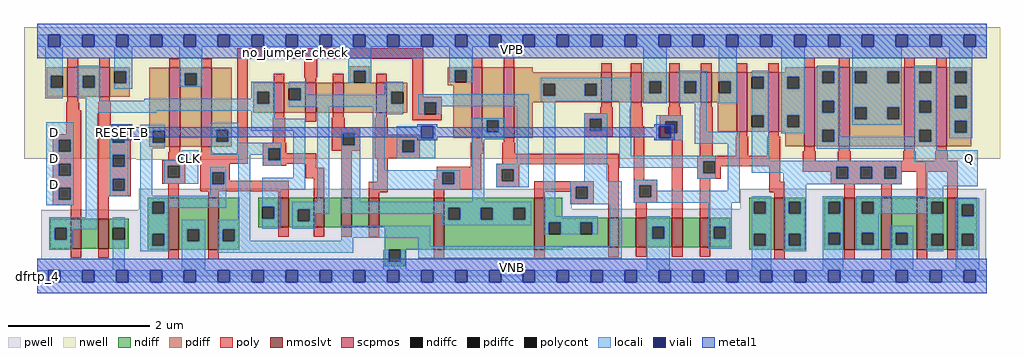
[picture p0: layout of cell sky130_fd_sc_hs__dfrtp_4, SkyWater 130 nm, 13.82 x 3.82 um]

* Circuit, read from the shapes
.subckt sky130_fd_sc_hs__dfrtp_4 CLK D RESET_B VGND VNB VPB VPWR Q
XM1 n1 D n2 VNB sky130_fd_pr__nfet_01v8_lvt w=0.42 l=0.15
XM2 VGND RESET_B n1 VNB sky130_fd_pr__nfet_01v8_lvt w=0.42 l=0.15
XM3 VGND CLK n3 VNB sky130_fd_pr__nfet_01v8_lvt w=0.74 l=0.15
XM4 n4 n3 VGND VNB sky130_fd_pr__nfet_01v8_lvt w=0.74 l=0.15
XM5 n5 n3 n2 VNB sky130_fd_pr__nfet_01v8_lvt w=0.42 l=0.15
XM6 n6 n4 n5 VNB sky130_fd_pr__nfet_01v8_lvt w=0.42 l=0.15
XM7 n7 n8 n6 VNB sky130_fd_pr__nfet_01v8_lvt w=0.42 l=0.15
XM8 VGND RESET_B n7 VNB sky130_fd_pr__nfet_01v8_lvt w=0.42 l=0.15
XM9 n8 n5 VGND VNB sky130_fd_pr__nfet_01v8_lvt w=0.74 l=0.15
XM10 n9 n4 n8 VNB sky130_fd_pr__nfet_01v8_lvt w=0.74 l=0.15
XM11 n10 n3 n9 VNB sky130_fd_pr__nfet_01v8_lvt w=0.42 l=0.15
XM12 VGND n11 n10 VNB sky130_fd_pr__nfet_01v8_lvt w=0.42 l=0.15
XM13 n12 RESET_B VGND VNB sky130_fd_pr__nfet_01v8_lvt w=0.42 l=0.15
XM14 n11 n9 n12 VNB sky130_fd_pr__nfet_01v8_lvt w=0.42 l=0.15
XM15 n13 n9 VGND VNB sky130_fd_pr__nfet_01v8_lvt w=0.74 l=0.15
XM16 Q n13 VGND VNB sky130_fd_pr__nfet_01v8_lvt w=0.74 l=0.15 m=4
XM17 n2 D VPWR VPB sky130_fd_pr__pfet_01v8 w=0.42 l=0.15
XM18 VPWR RESET_B n2 VPB sky130_fd_pr__pfet_01v8 w=0.42 l=0.15
XM19 VPWR CLK n3 VPB sky130_fd_pr__pfet_01v8 w=1.12 l=0.15
XM20 n4 n3 VPWR VPB sky130_fd_pr__pfet_01v8 w=1.12 l=0.15
XM21 n5 n4 n2 VPB sky130_fd_pr__pfet_01v8 w=0.42 l=0.15
XM22 n14 n3 n5 VPB sky130_fd_pr__pfet_01v8 w=0.42 l=0.15
XM23 VPWR n8 n14 VPB sky130_fd_pr__pfet_01v8 w=0.42 l=0.15
XM24 n5 RESET_B VPWR VPB sky130_fd_pr__pfet_01v8 w=0.42 l=0.15
XM25 n8 n5 VPWR VPB sky130_fd_pr__pfet_01v8 w=1 l=0.15
XM26 n9 n3 n8 VPB sky130_fd_pr__pfet_01v8 w=1 l=0.15
XM27 n15 n4 n9 VPB sky130_fd_pr__pfet_01v8 w=0.42 l=0.15
XM28 VPWR n11 n15 VPB sky130_fd_pr__pfet_01v8 w=0.42 l=0.15
XM29 n11 RESET_B VPWR VPB sky130_fd_pr__pfet_01v8 w=0.42 l=0.15
XM30 VPWR n9 n11 VPB sky130_fd_pr__pfet_01v8 w=0.42 l=0.15
XM31 n13 n9 VPWR VPB sky130_fd_pr__pfet_01v8 w=0.84 l=0.15 m=2
XM32 Q n13 VPWR VPB sky130_fd_pr__pfet_01v8 w=1.12 l=0.15 m=4
.ends

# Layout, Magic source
magic
tech sky130A
magscale 1 2
<< nwell >>
rect -38 332 2726 704
rect 280 330 587 332
<< pwell >>
rect 287 191 1513 248
rect 1990 191 2687 248
rect 287 188 2687 191
rect 11 49 2687 188
rect 0 0 2688 49
<< scpmos >>
rect 85 508 115 592
rect 175 508 205 592
rect 374 366 404 590
rect 464 366 494 590
rect 669 463 699 547
rect 759 463 789 547
rect 837 463 867 547
rect 959 463 989 547
rect 1230 392 1260 592
rect 1320 392 1350 592
rect 1597 493 1627 577
rect 1681 493 1711 577
rect 1789 493 1819 577
rect 1879 493 1909 577
rect 1980 409 2010 577
rect 2070 409 2100 577
rect 2171 368 2201 592
rect 2270 368 2300 592
rect 2455 368 2485 592
rect 2545 368 2575 592
<< nmoslvt >>
rect 94 78 124 162
rect 172 78 202 162
rect 370 74 400 222
rect 484 74 514 222
rect 682 138 712 222
rect 782 138 812 222
rect 860 138 890 222
rect 938 138 968 222
rect 1122 74 1152 222
rect 1407 74 1437 222
rect 1617 81 1647 165
rect 1695 81 1725 165
rect 1797 81 1827 165
rect 1875 81 1905 165
rect 2087 74 2117 222
rect 2285 74 2315 222
rect 2390 74 2420 222
rect 2490 74 2520 222
rect 2576 74 2606 222
<< ndiff >>
rect 313 210 370 222
rect 313 176 325 210
rect 359 176 370 210
rect 37 137 94 162
rect 37 103 49 137
rect 83 103 94 137
rect 37 78 94 103
rect 124 78 172 162
rect 202 137 259 162
rect 202 103 213 137
rect 247 103 259 137
rect 202 78 259 103
rect 313 120 370 176
rect 313 86 325 120
rect 359 86 370 120
rect 313 74 370 86
rect 400 132 484 222
rect 400 98 425 132
rect 459 98 484 132
rect 400 74 484 98
rect 514 132 571 222
rect 625 197 682 222
rect 625 163 637 197
rect 671 163 682 197
rect 625 138 682 163
rect 712 189 782 222
rect 712 155 737 189
rect 771 155 782 189
rect 712 138 782 155
rect 812 138 860 222
rect 890 138 938 222
rect 968 138 1122 222
rect 514 98 525 132
rect 559 98 571 132
rect 514 74 571 98
rect 983 74 1122 138
rect 1152 194 1407 222
rect 1152 160 1163 194
rect 1197 160 1255 194
rect 1289 160 1348 194
rect 1382 160 1407 194
rect 1152 74 1407 160
rect 1437 165 1487 222
rect 2016 210 2087 222
rect 2016 176 2028 210
rect 2062 176 2087 210
rect 1437 153 1617 165
rect 1437 119 1448 153
rect 1482 119 1537 153
rect 1571 119 1617 153
rect 1437 81 1617 119
rect 1647 81 1695 165
rect 1725 140 1797 165
rect 1725 106 1741 140
rect 1775 106 1797 140
rect 1725 81 1797 106
rect 1827 81 1875 165
rect 1905 140 1962 165
rect 1905 106 1916 140
rect 1950 106 1962 140
rect 1905 81 1962 106
rect 2016 120 2087 176
rect 2016 86 2028 120
rect 2062 86 2087 120
rect 1437 74 1487 81
rect 983 40 995 74
rect 1029 40 1041 74
rect 2016 74 2087 86
rect 2117 210 2174 222
rect 2117 176 2128 210
rect 2162 176 2174 210
rect 2117 120 2174 176
rect 2117 86 2128 120
rect 2162 86 2174 120
rect 2117 74 2174 86
rect 2228 210 2285 222
rect 2228 176 2240 210
rect 2274 176 2285 210
rect 2228 123 2285 176
rect 2228 89 2240 123
rect 2274 89 2285 123
rect 2228 74 2285 89
rect 2315 210 2390 222
rect 2315 176 2335 210
rect 2369 176 2390 210
rect 2315 123 2390 176
rect 2315 89 2335 123
rect 2369 89 2390 123
rect 2315 74 2390 89
rect 2420 123 2490 222
rect 2420 89 2431 123
rect 2465 89 2490 123
rect 2420 74 2490 89
rect 2520 210 2576 222
rect 2520 176 2531 210
rect 2565 176 2576 210
rect 2520 120 2576 176
rect 2520 86 2531 120
rect 2565 86 2576 120
rect 2520 74 2576 86
rect 2606 204 2661 222
rect 2606 170 2617 204
rect 2651 170 2661 204
rect 2606 120 2661 170
rect 2606 86 2617 120
rect 2651 86 2661 120
rect 2606 74 2661 86
rect 983 28 1041 40
<< pdiff >>
rect 27 567 85 592
rect 27 533 38 567
rect 72 533 85 567
rect 27 508 85 533
rect 115 567 175 592
rect 115 533 128 567
rect 162 533 175 567
rect 115 508 175 533
rect 205 580 262 592
rect 205 546 218 580
rect 252 546 262 580
rect 205 508 262 546
rect 316 412 374 590
rect 316 378 327 412
rect 361 378 374 412
rect 316 366 374 378
rect 404 574 464 590
rect 404 540 417 574
rect 451 540 464 574
rect 404 366 464 540
rect 494 415 551 590
rect 494 381 507 415
rect 541 381 551 415
rect 494 366 551 381
rect 885 582 941 594
rect 885 548 896 582
rect 930 548 941 582
rect 885 547 941 548
rect 611 522 669 547
rect 611 488 622 522
rect 656 488 669 522
rect 611 463 669 488
rect 699 532 759 547
rect 699 498 712 532
rect 746 498 759 532
rect 699 463 759 498
rect 789 463 837 547
rect 867 463 959 547
rect 989 522 1047 547
rect 989 488 1002 522
rect 1036 488 1047 522
rect 989 463 1047 488
rect 1162 583 1230 592
rect 1162 549 1182 583
rect 1216 549 1230 583
rect 1162 540 1230 549
rect 1177 392 1230 540
rect 1260 442 1320 592
rect 1260 408 1273 442
rect 1307 408 1320 442
rect 1260 392 1320 408
rect 1350 577 1403 592
rect 2118 577 2171 592
rect 1350 545 1597 577
rect 1350 511 1432 545
rect 1466 511 1550 545
rect 1584 511 1597 545
rect 1350 493 1597 511
rect 1627 493 1681 577
rect 1711 552 1789 577
rect 1711 518 1732 552
rect 1766 518 1789 552
rect 1711 493 1789 518
rect 1819 552 1879 577
rect 1819 518 1832 552
rect 1866 518 1879 552
rect 1819 493 1879 518
rect 1909 552 1980 577
rect 1909 518 1930 552
rect 1964 518 1980 552
rect 1909 493 1980 518
rect 1350 392 1403 493
rect 1927 409 1980 493
rect 2010 565 2070 577
rect 2010 531 2023 565
rect 2057 531 2070 565
rect 2010 455 2070 531
rect 2010 421 2023 455
rect 2057 421 2070 455
rect 2010 409 2070 421
rect 2100 565 2171 577
rect 2100 531 2123 565
rect 2157 531 2171 565
rect 2100 455 2171 531
rect 2100 421 2123 455
rect 2157 421 2171 455
rect 2100 409 2171 421
rect 2118 368 2171 409
rect 2201 580 2270 592
rect 2201 546 2223 580
rect 2257 546 2270 580
rect 2201 497 2270 546
rect 2201 463 2223 497
rect 2257 463 2270 497
rect 2201 414 2270 463
rect 2201 380 2223 414
rect 2257 380 2270 414
rect 2201 368 2270 380
rect 2300 580 2455 592
rect 2300 546 2314 580
rect 2348 546 2407 580
rect 2441 546 2455 580
rect 2300 478 2455 546
rect 2300 444 2314 478
rect 2348 444 2407 478
rect 2441 444 2455 478
rect 2300 368 2455 444
rect 2485 580 2545 592
rect 2485 546 2498 580
rect 2532 546 2545 580
rect 2485 497 2545 546
rect 2485 463 2498 497
rect 2532 463 2545 497
rect 2485 414 2545 463
rect 2485 380 2498 414
rect 2532 380 2545 414
rect 2485 368 2545 380
rect 2575 580 2644 592
rect 2575 546 2598 580
rect 2632 546 2644 580
rect 2575 510 2644 546
rect 2575 476 2598 510
rect 2632 476 2644 510
rect 2575 440 2644 476
rect 2575 406 2598 440
rect 2632 406 2644 440
rect 2575 368 2644 406
<< ndiffc >>
rect 325 176 359 210
rect 49 103 83 137
rect 213 103 247 137
rect 325 86 359 120
rect 425 98 459 132
rect 637 163 671 197
rect 737 155 771 189
rect 525 98 559 132
rect 1163 160 1197 194
rect 1255 160 1289 194
rect 1348 160 1382 194
rect 2028 176 2062 210
rect 1448 119 1482 153
rect 1537 119 1571 153
rect 1741 106 1775 140
rect 1916 106 1950 140
rect 2028 86 2062 120
rect 995 40 1029 74
rect 2128 176 2162 210
rect 2128 86 2162 120
rect 2240 176 2274 210
rect 2240 89 2274 123
rect 2335 176 2369 210
rect 2335 89 2369 123
rect 2431 89 2465 123
rect 2531 176 2565 210
rect 2531 86 2565 120
rect 2617 170 2651 204
rect 2617 86 2651 120
<< pdiffc >>
rect 38 533 72 567
rect 128 533 162 567
rect 218 546 252 580
rect 327 378 361 412
rect 417 540 451 574
rect 507 381 541 415
rect 896 548 930 582
rect 622 488 656 522
rect 712 498 746 532
rect 1002 488 1036 522
rect 1182 549 1216 583
rect 1273 408 1307 442
rect 1432 511 1466 545
rect 1550 511 1584 545
rect 1732 518 1766 552
rect 1832 518 1866 552
rect 1930 518 1964 552
rect 2023 531 2057 565
rect 2023 421 2057 455
rect 2123 531 2157 565
rect 2123 421 2157 455
rect 2223 546 2257 580
rect 2223 463 2257 497
rect 2223 380 2257 414
rect 2314 546 2348 580
rect 2407 546 2441 580
rect 2314 444 2348 478
rect 2407 444 2441 478
rect 2498 546 2532 580
rect 2498 463 2532 497
rect 2498 380 2532 414
rect 2598 546 2632 580
rect 2598 476 2632 510
rect 2598 406 2632 440
<< poly >>
rect 85 592 115 618
rect 175 592 205 618
rect 374 590 404 616
rect 464 590 494 616
rect 566 615 1092 645
rect 85 493 115 508
rect 175 493 205 508
rect 82 470 118 493
rect 82 402 124 470
rect 44 386 124 402
rect 44 352 60 386
rect 94 352 124 386
rect 44 318 124 352
rect 44 284 60 318
rect 94 284 124 318
rect 44 250 124 284
rect 44 216 60 250
rect 94 216 124 250
rect 44 200 124 216
rect 94 162 124 200
rect 172 428 208 493
rect 172 412 264 428
rect 172 378 214 412
rect 248 378 264 412
rect 172 344 264 378
rect 374 351 404 366
rect 464 351 494 366
rect 172 310 214 344
rect 248 310 264 344
rect 371 328 407 351
rect 461 348 497 351
rect 566 348 596 615
rect 669 547 699 573
rect 756 562 792 615
rect 759 547 789 562
rect 837 547 867 573
rect 959 547 989 573
rect 1062 508 1092 615
rect 1230 592 1260 618
rect 1320 592 1350 618
rect 1062 492 1145 508
rect 669 448 699 463
rect 666 378 702 448
rect 759 437 789 463
rect 837 448 867 463
rect 959 448 989 463
rect 1062 458 1095 492
rect 1129 458 1145 492
rect 834 421 870 448
rect 834 405 914 421
rect 172 276 264 310
rect 172 242 214 276
rect 248 242 264 276
rect 353 312 419 328
rect 353 278 369 312
rect 403 278 419 312
rect 353 262 419 278
rect 461 318 596 348
rect 638 362 704 378
rect 638 328 654 362
rect 688 348 704 362
rect 834 371 864 405
rect 898 371 914 405
rect 834 355 914 371
rect 956 400 992 448
rect 1062 442 1145 458
rect 956 384 1083 400
rect 1597 577 1627 603
rect 1681 577 1711 603
rect 1789 577 1819 603
rect 1879 577 1909 603
rect 1980 577 2010 603
rect 2070 577 2100 603
rect 2171 592 2201 618
rect 2270 592 2300 618
rect 2455 592 2485 618
rect 2545 592 2575 618
rect 1597 478 1627 493
rect 1681 478 1711 493
rect 1789 478 1819 493
rect 1879 478 1909 493
rect 1594 461 1630 478
rect 1548 445 1630 461
rect 1548 411 1564 445
rect 1598 411 1630 445
rect 1548 395 1630 411
rect 1678 425 1714 478
rect 1786 455 1822 478
rect 1762 439 1828 455
rect 1678 395 1719 425
rect 688 328 790 348
rect 638 318 790 328
rect 461 294 545 318
rect 638 312 704 318
rect 172 226 264 242
rect 172 162 202 226
rect 370 222 400 262
rect 461 260 495 294
rect 529 270 545 294
rect 760 307 790 318
rect 760 277 812 307
rect 529 260 712 270
rect 461 240 712 260
rect 484 222 514 240
rect 682 222 712 240
rect 782 222 812 277
rect 860 222 890 355
rect 956 350 1033 384
rect 1067 350 1083 384
rect 1230 377 1260 392
rect 1320 377 1350 392
rect 956 334 1083 350
rect 1227 346 1263 377
rect 1317 347 1353 377
rect 962 267 992 334
rect 1227 310 1257 346
rect 1317 318 1647 347
rect 1131 294 1257 310
rect 1131 274 1147 294
rect 938 237 992 267
rect 1122 260 1147 274
rect 1181 260 1257 294
rect 1122 244 1257 260
rect 1299 317 1647 318
rect 1299 302 1365 317
rect 1299 268 1315 302
rect 1349 268 1365 302
rect 1299 252 1365 268
rect 1407 253 1575 269
rect 938 222 968 237
rect 1122 222 1152 244
rect 1407 239 1525 253
rect 1407 222 1437 239
rect 94 52 124 78
rect 172 52 202 78
rect 682 112 712 138
rect 782 112 812 138
rect 860 112 890 138
rect 938 112 968 138
rect 1509 219 1525 239
rect 1559 219 1575 253
rect 1509 203 1575 219
rect 1617 165 1647 317
rect 1689 273 1719 395
rect 1762 405 1778 439
rect 1812 405 1828 439
rect 1762 389 1828 405
rect 1689 257 1755 273
rect 1689 223 1705 257
rect 1739 223 1755 257
rect 1689 207 1755 223
rect 1695 165 1725 207
rect 1797 165 1827 389
rect 1876 341 1912 478
rect 1980 394 2010 409
rect 2070 394 2100 409
rect 1977 341 2013 394
rect 2067 341 2103 394
rect 2171 353 2201 368
rect 2270 353 2300 368
rect 2455 353 2485 368
rect 2545 353 2575 368
rect 1869 325 2103 341
rect 1869 291 1885 325
rect 1919 311 2103 325
rect 1919 291 1935 311
rect 1869 275 1935 291
rect 1875 165 1905 275
rect 2073 267 2103 311
rect 2168 326 2204 353
rect 2267 326 2303 353
rect 2452 326 2488 353
rect 2542 326 2578 353
rect 2168 310 2606 326
rect 2168 296 2262 310
rect 2246 276 2262 296
rect 2296 276 2330 310
rect 2364 276 2398 310
rect 2432 296 2606 310
rect 2432 276 2448 296
rect 2073 237 2117 267
rect 2246 260 2448 276
rect 2087 222 2117 237
rect 2285 222 2315 260
rect 2390 222 2420 260
rect 2490 222 2520 296
rect 2576 222 2606 296
rect 370 48 400 74
rect 484 48 514 74
rect 1122 48 1152 74
rect 1407 48 1437 74
rect 1617 55 1647 81
rect 1695 55 1725 81
rect 1797 55 1827 81
rect 1875 55 1905 81
rect 2087 48 2117 74
rect 2285 48 2315 74
rect 2390 48 2420 74
rect 2490 48 2520 74
rect 2576 48 2606 74
<< polycont >>
rect 60 352 94 386
rect 60 284 94 318
rect 60 216 94 250
rect 214 378 248 412
rect 214 310 248 344
rect 1095 458 1129 492
rect 214 242 248 276
rect 369 278 403 312
rect 654 328 688 362
rect 864 371 898 405
rect 1564 411 1598 445
rect 495 260 529 294
rect 1033 350 1067 384
rect 1147 260 1181 294
rect 1315 268 1349 302
rect 1525 219 1559 253
rect 1778 405 1812 439
rect 1705 223 1739 257
rect 1885 291 1919 325
rect 2262 276 2296 310
rect 2330 276 2364 310
rect 2398 276 2432 310
<< locali >>
rect 0 649 31 683
rect 65 649 127 683
rect 161 649 223 683
rect 257 649 319 683
rect 353 649 415 683
rect 449 649 511 683
rect 545 649 607 683
rect 641 649 703 683
rect 737 649 799 683
rect 833 649 895 683
rect 929 649 991 683
rect 1025 649 1087 683
rect 1121 649 1183 683
rect 1217 649 1279 683
rect 1313 649 1375 683
rect 1409 649 1471 683
rect 1505 649 1567 683
rect 1601 649 1663 683
rect 1697 649 1759 683
rect 1793 649 1855 683
rect 1889 649 1951 683
rect 1985 649 2047 683
rect 2081 649 2143 683
rect 2177 649 2239 683
rect 2273 649 2335 683
rect 2369 649 2431 683
rect 2465 649 2527 683
rect 2561 649 2623 683
rect 2657 649 2688 683
rect 22 567 72 649
rect 22 533 38 567
rect 22 504 72 533
rect 112 567 178 596
rect 112 533 128 567
rect 162 533 178 567
rect 112 504 178 533
rect 218 580 268 649
rect 252 546 268 580
rect 218 530 268 546
rect 401 574 467 649
rect 401 540 417 574
rect 451 540 467 574
rect 880 582 946 649
rect 401 536 467 540
rect 137 496 178 504
rect 606 522 672 551
rect 606 502 622 522
rect 302 496 622 502
rect 137 488 622 496
rect 656 488 672 522
rect 137 468 672 488
rect 712 532 762 551
rect 880 548 896 582
rect 930 548 946 582
rect 1166 583 1233 649
rect 746 514 762 532
rect 983 522 1036 551
rect 1166 549 1182 583
rect 1216 549 1233 583
rect 983 514 1002 522
rect 746 498 1002 514
rect 712 488 1002 498
rect 1425 545 1682 561
rect 712 480 1036 488
rect 137 462 336 468
rect 25 386 103 436
rect 25 352 60 386
rect 94 352 103 386
rect 25 318 103 352
rect 25 284 60 318
rect 94 284 103 318
rect 25 250 103 284
rect 25 216 60 250
rect 94 216 103 250
rect 25 200 103 216
rect 137 166 171 462
rect 606 446 672 468
rect 205 424 257 428
rect 205 412 223 424
rect 205 378 214 412
rect 248 378 257 390
rect 205 344 257 378
rect 205 310 214 344
rect 248 310 257 344
rect 205 276 257 310
rect 205 242 214 276
rect 248 242 257 276
rect 205 226 257 242
rect 291 412 361 428
rect 291 378 327 412
rect 291 362 361 378
rect 491 415 569 434
rect 491 381 507 415
rect 541 381 569 415
rect 606 412 759 446
rect 491 378 569 381
rect 491 362 691 378
rect 291 228 325 362
rect 409 328 455 356
rect 491 344 654 362
rect 359 312 455 328
rect 359 278 369 312
rect 403 278 455 312
rect 359 262 455 278
rect 489 294 535 310
rect 489 260 495 294
rect 529 260 535 294
rect 489 228 535 260
rect 291 210 535 228
rect 291 176 325 210
rect 359 194 535 210
rect 359 176 375 194
rect 33 137 171 166
rect 33 103 49 137
rect 83 132 171 137
rect 213 137 247 166
rect 83 103 99 132
rect 33 74 99 103
rect 213 17 247 103
rect 291 120 375 176
rect 569 160 603 344
rect 638 328 654 344
rect 688 328 691 362
rect 638 312 691 328
rect 725 278 759 412
rect 291 86 325 120
rect 359 86 375 120
rect 291 70 375 86
rect 409 132 475 160
rect 409 98 425 132
rect 459 98 475 132
rect 409 17 475 98
rect 509 132 603 160
rect 637 244 759 278
rect 637 197 687 244
rect 793 210 827 480
rect 949 459 1036 480
rect 1079 492 1391 515
rect 1425 511 1432 545
rect 1466 511 1550 545
rect 1584 511 1682 545
rect 1425 495 1682 511
rect 671 163 687 197
rect 637 134 687 163
rect 721 189 827 210
rect 721 155 737 189
rect 771 176 827 189
rect 861 405 914 421
rect 861 371 864 405
rect 898 371 914 405
rect 861 210 914 371
rect 949 300 983 459
rect 1079 458 1095 492
rect 1129 481 1391 492
rect 1129 458 1145 481
rect 1231 442 1323 447
rect 1017 390 1087 424
rect 1121 390 1127 424
rect 1017 384 1127 390
rect 1017 350 1033 384
rect 1067 350 1127 384
rect 1017 334 1127 350
rect 1231 408 1273 442
rect 1307 408 1323 442
rect 1231 388 1323 408
rect 949 294 1197 300
rect 949 260 1147 294
rect 1181 260 1197 294
rect 949 244 1197 260
rect 1231 210 1265 388
rect 1357 318 1391 481
rect 1299 302 1391 318
rect 1299 268 1315 302
rect 1349 268 1391 302
rect 1299 252 1391 268
rect 861 194 1398 210
rect 861 176 1163 194
rect 771 155 787 176
rect 721 134 787 155
rect 1147 160 1163 176
rect 1197 160 1255 194
rect 1289 160 1348 194
rect 1382 160 1398 194
rect 1147 144 1398 160
rect 1432 169 1466 495
rect 1548 445 1614 461
rect 1548 411 1564 445
rect 1598 411 1614 445
rect 1548 269 1614 411
rect 1648 341 1682 495
rect 1716 552 1782 649
rect 1716 518 1732 552
rect 1766 518 1782 552
rect 1716 489 1782 518
rect 1816 552 1896 581
rect 1816 518 1832 552
rect 1866 518 1896 552
rect 1816 489 1896 518
rect 1930 552 1980 649
rect 1964 518 1980 552
rect 1930 489 1980 518
rect 2023 565 2073 581
rect 2057 531 2073 565
rect 1753 439 1828 455
rect 1753 424 1778 439
rect 1753 390 1759 424
rect 1812 405 1828 439
rect 1793 390 1828 405
rect 1753 384 1828 390
rect 1862 409 1896 489
rect 2023 455 2073 531
rect 2057 421 2073 455
rect 1862 375 1989 409
rect 1648 325 1921 341
rect 1648 307 1885 325
rect 1869 291 1885 307
rect 1919 291 1921 325
rect 1869 275 1921 291
rect 1509 253 1655 269
rect 1509 219 1525 253
rect 1559 219 1655 253
rect 1509 203 1655 219
rect 1689 257 1755 273
rect 1689 223 1705 257
rect 1739 241 1755 257
rect 1955 241 1989 375
rect 2023 326 2073 421
rect 2107 565 2173 649
rect 2107 531 2123 565
rect 2157 531 2173 565
rect 2107 455 2173 531
rect 2107 421 2123 455
rect 2157 421 2173 455
rect 2107 405 2173 421
rect 2207 580 2273 596
rect 2207 546 2223 580
rect 2257 546 2273 580
rect 2207 497 2273 546
rect 2207 463 2223 497
rect 2257 463 2273 497
rect 2207 414 2273 463
rect 2307 580 2448 649
rect 2307 546 2314 580
rect 2348 546 2407 580
rect 2441 546 2448 580
rect 2307 478 2448 546
rect 2307 444 2314 478
rect 2348 444 2407 478
rect 2441 444 2448 478
rect 2307 428 2448 444
rect 2482 580 2548 596
rect 2482 546 2498 580
rect 2532 546 2548 580
rect 2482 497 2548 546
rect 2482 463 2498 497
rect 2532 463 2548 497
rect 2207 380 2223 414
rect 2257 394 2273 414
rect 2482 414 2548 463
rect 2482 394 2498 414
rect 2257 380 2498 394
rect 2532 380 2548 414
rect 2582 580 2648 649
rect 2582 546 2598 580
rect 2632 546 2648 580
rect 2582 510 2648 546
rect 2582 476 2598 510
rect 2632 476 2648 510
rect 2582 440 2648 476
rect 2582 406 2598 440
rect 2632 406 2648 440
rect 2582 390 2648 406
rect 2207 360 2548 380
rect 2482 356 2548 360
rect 2023 310 2448 326
rect 2482 322 2663 356
rect 2023 292 2262 310
rect 1739 223 1989 241
rect 2112 276 2262 292
rect 2296 276 2330 310
rect 2364 276 2398 310
rect 2432 276 2448 310
rect 2112 260 2448 276
rect 1689 207 1989 223
rect 2023 210 2078 226
rect 1432 153 1587 169
rect 509 98 525 132
rect 559 100 603 132
rect 861 108 1113 142
rect 1432 119 1448 153
rect 1482 119 1537 153
rect 1571 119 1587 153
rect 861 100 895 108
rect 559 98 895 100
rect 509 66 895 98
rect 1079 85 1113 108
rect 1621 85 1655 203
rect 979 40 995 74
rect 1029 40 1045 74
rect 1079 51 1655 85
rect 1725 140 1791 169
rect 1725 106 1741 140
rect 1775 106 1791 140
rect 979 17 1045 40
rect 1725 17 1791 106
rect 1900 140 1966 207
rect 1900 106 1916 140
rect 1950 106 1966 140
rect 1900 77 1966 106
rect 2023 176 2028 210
rect 2062 176 2078 210
rect 2023 120 2078 176
rect 2023 86 2028 120
rect 2062 86 2078 120
rect 2023 17 2078 86
rect 2112 210 2178 260
rect 2515 254 2663 322
rect 2515 226 2565 254
rect 2112 176 2128 210
rect 2162 176 2178 210
rect 2112 120 2178 176
rect 2112 86 2128 120
rect 2162 86 2178 120
rect 2112 70 2178 86
rect 2224 210 2282 226
rect 2224 176 2240 210
rect 2274 176 2282 210
rect 2224 123 2282 176
rect 2224 89 2240 123
rect 2274 89 2282 123
rect 2224 17 2282 89
rect 2319 210 2565 226
rect 2319 176 2335 210
rect 2369 176 2531 210
rect 2319 123 2382 176
rect 2319 89 2335 123
rect 2369 89 2382 123
rect 2319 73 2382 89
rect 2416 123 2481 142
rect 2416 89 2431 123
rect 2465 89 2481 123
rect 2416 17 2481 89
rect 2515 120 2565 176
rect 2515 86 2531 120
rect 2515 70 2565 86
rect 2601 204 2667 220
rect 2601 170 2617 204
rect 2651 170 2667 204
rect 2601 120 2667 170
rect 2601 86 2617 120
rect 2651 86 2667 120
rect 2601 17 2667 86
rect 0 -17 31 17
rect 65 -17 127 17
rect 161 -17 223 17
rect 257 -17 319 17
rect 353 -17 415 17
rect 449 -17 511 17
rect 545 -17 607 17
rect 641 -17 703 17
rect 737 -17 799 17
rect 833 -17 895 17
rect 929 -17 991 17
rect 1025 -17 1087 17
rect 1121 -17 1183 17
rect 1217 -17 1279 17
rect 1313 -17 1375 17
rect 1409 -17 1471 17
rect 1505 -17 1567 17
rect 1601 -17 1663 17
rect 1697 -17 1759 17
rect 1793 -17 1855 17
rect 1889 -17 1951 17
rect 1985 -17 2047 17
rect 2081 -17 2143 17
rect 2177 -17 2239 17
rect 2273 -17 2335 17
rect 2369 -17 2431 17
rect 2465 -17 2527 17
rect 2561 -17 2623 17
rect 2657 -17 2688 17
<< viali >>
rect 31 649 65 683
rect 127 649 161 683
rect 223 649 257 683
rect 319 649 353 683
rect 415 649 449 683
rect 511 649 545 683
rect 607 649 641 683
rect 703 649 737 683
rect 799 649 833 683
rect 895 649 929 683
rect 991 649 1025 683
rect 1087 649 1121 683
rect 1183 649 1217 683
rect 1279 649 1313 683
rect 1375 649 1409 683
rect 1471 649 1505 683
rect 1567 649 1601 683
rect 1663 649 1697 683
rect 1759 649 1793 683
rect 1855 649 1889 683
rect 1951 649 1985 683
rect 2047 649 2081 683
rect 2143 649 2177 683
rect 2239 649 2273 683
rect 2335 649 2369 683
rect 2431 649 2465 683
rect 2527 649 2561 683
rect 2623 649 2657 683
rect 223 412 257 424
rect 223 390 248 412
rect 248 390 257 412
rect 1087 390 1121 424
rect 1759 405 1778 424
rect 1778 405 1793 424
rect 1759 390 1793 405
rect 31 -17 65 17
rect 127 -17 161 17
rect 223 -17 257 17
rect 319 -17 353 17
rect 415 -17 449 17
rect 511 -17 545 17
rect 607 -17 641 17
rect 703 -17 737 17
rect 799 -17 833 17
rect 895 -17 929 17
rect 991 -17 1025 17
rect 1087 -17 1121 17
rect 1183 -17 1217 17
rect 1279 -17 1313 17
rect 1375 -17 1409 17
rect 1471 -17 1505 17
rect 1567 -17 1601 17
rect 1663 -17 1697 17
rect 1759 -17 1793 17
rect 1855 -17 1889 17
rect 1951 -17 1985 17
rect 2047 -17 2081 17
rect 2143 -17 2177 17
rect 2239 -17 2273 17
rect 2335 -17 2369 17
rect 2431 -17 2465 17
rect 2527 -17 2561 17
rect 2623 -17 2657 17
<< metal1 >>
rect 0 683 2688 715
rect 0 649 31 683
rect 65 649 127 683
rect 161 649 223 683
rect 257 649 319 683
rect 353 649 415 683
rect 449 649 511 683
rect 545 649 607 683
rect 641 649 703 683
rect 737 649 799 683
rect 833 649 895 683
rect 929 649 991 683
rect 1025 649 1087 683
rect 1121 649 1183 683
rect 1217 649 1279 683
rect 1313 649 1375 683
rect 1409 649 1471 683
rect 1505 649 1567 683
rect 1601 649 1663 683
rect 1697 649 1759 683
rect 1793 649 1855 683
rect 1889 649 1951 683
rect 1985 649 2047 683
rect 2081 649 2143 683
rect 2177 649 2239 683
rect 2273 649 2335 683
rect 2369 649 2431 683
rect 2465 649 2527 683
rect 2561 649 2623 683
rect 2657 649 2688 683
rect 0 617 2688 649
rect 211 424 269 430
rect 211 390 223 424
rect 257 421 269 424
rect 1075 424 1133 430
rect 1075 421 1087 424
rect 257 393 1087 421
rect 257 390 269 393
rect 211 384 269 390
rect 1075 390 1087 393
rect 1121 421 1133 424
rect 1747 424 1805 430
rect 1747 421 1759 424
rect 1121 393 1759 421
rect 1121 390 1133 393
rect 1075 384 1133 390
rect 1747 390 1759 393
rect 1793 390 1805 424
rect 1747 384 1805 390
rect 0 17 2688 49
rect 0 -17 31 17
rect 65 -17 127 17
rect 161 -17 223 17
rect 257 -17 319 17
rect 353 -17 415 17
rect 449 -17 511 17
rect 545 -17 607 17
rect 641 -17 703 17
rect 737 -17 799 17
rect 833 -17 895 17
rect 929 -17 991 17
rect 1025 -17 1087 17
rect 1121 -17 1183 17
rect 1217 -17 1279 17
rect 1313 -17 1375 17
rect 1409 -17 1471 17
rect 1505 -17 1567 17
rect 1601 -17 1663 17
rect 1697 -17 1759 17
rect 1793 -17 1855 17
rect 1889 -17 1951 17
rect 1985 -17 2047 17
rect 2081 -17 2143 17
rect 2177 -17 2239 17
rect 2273 -17 2335 17
rect 2369 -17 2431 17
rect 2465 -17 2527 17
rect 2561 -17 2623 17
rect 2657 -17 2688 17
rect 0 -49 2688 -17
<< labels >>
rlabel comment s 0 0 0 0 4 dfrtp_4
flabel comment s 731 633 731 633 0 FreeSans 200 0 0 0 no_jumper_check
flabel pwell s 0 0 2688 49 0 FreeSans 200 0 0 0 VNB
port 5 nsew ground bidirectional
flabel nwell s 0 617 2688 666 0 FreeSans 200 0 0 0 VPB
port 6 nsew power bidirectional
flabel metal1 s 223 390 257 424 0 FreeSans 340 0 0 0 RESET_B
port 3 nsew signal input
flabel metal1 s 0 617 2688 666 0 FreeSans 340 0 0 0 VPWR
port 7 nsew power bidirectional
flabel metal1 s 0 0 2688 49 0 FreeSans 340 0 0 0 VGND
port 4 nsew ground bidirectional
flabel locali s 31 242 65 276 0 FreeSans 340 0 0 0 D
port 2 nsew signal input
flabel locali s 31 316 65 350 0 FreeSans 340 0 0 0 D
port 2 nsew signal input
flabel locali s 31 390 65 424 0 FreeSans 340 0 0 0 D
port 2 nsew signal input
flabel locali s 415 316 449 350 0 FreeSans 340 0 0 0 CLK
port 1 nsew clock input
flabel locali s 2623 316 2657 350 0 FreeSans 340 0 0 0 Q
port 8 nsew signal output
<< properties >>
string LEFsite unit
string LEFclass CORE
string FIXED_BBOX 0 0 2688 666
string GDS_FILE $PDKPATH/libs.ref/sky130_fd_sc_hs/gds/sky130_fd_sc_hs.gds
string LEFsymmetry X Y R90
string GDS_END 465878
string GDS_START 447104
<< end >>
